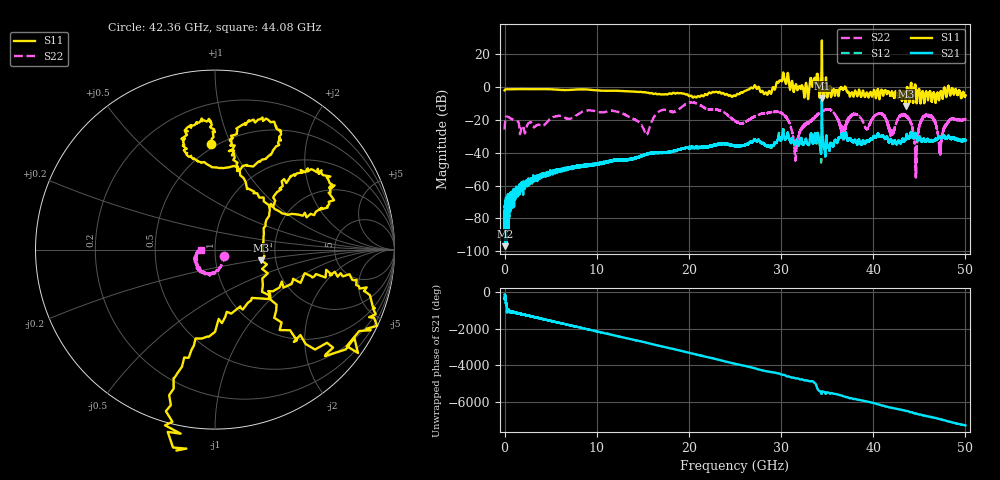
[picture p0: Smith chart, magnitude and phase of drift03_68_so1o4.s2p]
!Created with skrf (http://scikit-rf.org).
# Hz S RI R 50.0
!freq ReS11 ImS11 ReS21 ImS21 ReS12 ImS12 ReS22 ImS22
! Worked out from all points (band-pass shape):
!   10000 points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, 5.3 MHz to 50 GHz, reference 50 ohm
!   highest |S21| = -6.71 dB at 34.43 GHz (marker M1); lowest = -96.9 dB at 60.3 MHz (marker M2)
!   |S21| within 3 dB of the highest: 34.42728 GHz to 34.43451 GHz (7.235 MHz wide, 0.021 % of centre)
!   lowest |S11| = -11.6 dB at 43.53 GHz (marker M3), VSWR 1.71, Z = 83.5 - j10.5 ohm
!   |S11| at or under -10 dB: 43.4851 GHz to 43.54423 GHz (59.13 MHz wide, 0.136 % of centre); 43.54737 GHz to 43.55168 GHz (4.306 MHz wide, 0.00989 % of centre); 44.71979 GHz to 44.72027 GHz (476.4 kHz wide, 0.00107 % of centre) (the widest 3 of 4)
!   |S22| runs from -55.1 to -9.4 dB; largest |S21 - S12| = 0.14
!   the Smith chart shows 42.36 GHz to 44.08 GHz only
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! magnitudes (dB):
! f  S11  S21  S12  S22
! 5.3 MHz  -2.1  -81.1  -81.3  -25.9
! 60.3 MHz  -1.6  -96.9  -80.9  -20.0
! 2.27 GHz  -1.3  -59.0  -59.0  -27.2
! 8.34 GHz  -1.5  -48.3  -48.2  -15.3
! 12.47 GHz  -2.4  -44.6  -44.3  -15.5
! 15.4 GHz  -3.5  -41.0  -41.0  -29.0
! 16.67 GHz  -4.4  -40.2  -40.0  -15.3
! 20.45 GHz  -6.5  -37.1  -37.0  -9.5
! 25.01 GHz  -5.5  -35.8  -35.9  -20.8
! 29.93 GHz  4.0  -32.5  -31.6  -15.5
! 31.59 GHz  1.3  -33.9  -34.1  -44.4
! 33.34 GHz  2.6  -29.9  -30.6  -20.2
! 34.43 GHz  28.2  -6.7  -8.8  -14.5
! 36.7 GHz  -1.4  -30.1  -30.2  -28.9
! 37.94 GHz  -4.4  -32.7  -32.6  -16.4
! 41.67 GHz  -2.9  -33.2  -33.4  -23.6
! 43.53 GHz  -11.6  -31.3  -31.0  -17.3
! 44.62 GHz  -2.4  -29.4  -29.4  -52.8
! 45.61 GHz  -6.5  -32.6  -32.8  -17.3
! 47.26 GHz  -3.4  -30.6  -30.6  -40.1
! 48.31 GHz  -4.0  -31.1  -30.5  -19.9
! 50 GHz  -5.2  -32.7  -32.5  -19.6
